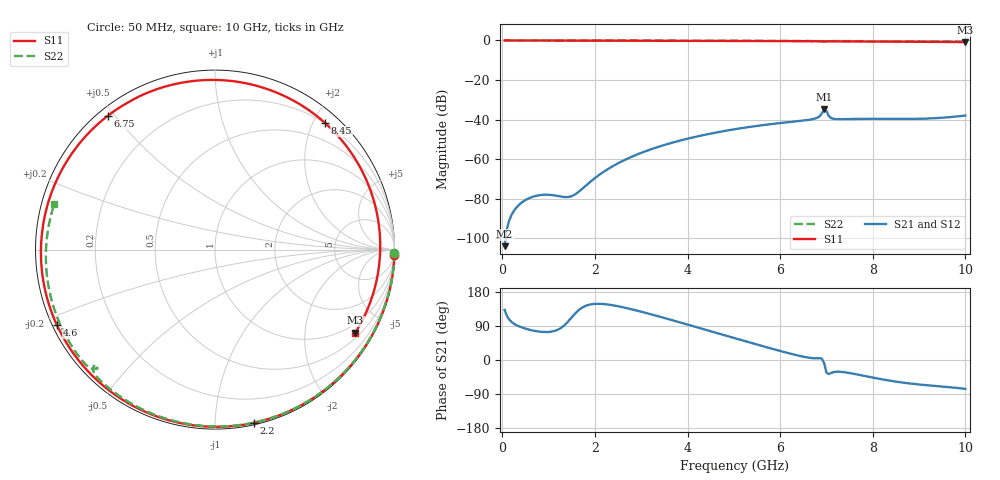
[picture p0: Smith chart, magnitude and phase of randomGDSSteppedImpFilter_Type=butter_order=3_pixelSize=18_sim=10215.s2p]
! freq	dB(S11)	phase(S11)	dB(S12)	phase(S12)
!  dB(S21)	phase(S21)	dB(S22)	phase(S22)
!S-par simulation data
#  GHz  S  DB  R 50
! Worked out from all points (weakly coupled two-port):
!   200 points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, 50 MHz to 10 GHz, reference 50 ohm
!   highest |S21| = -34.76 dB at 6.95 GHz (marker M1); lowest = -104.0 dB at 50 MHz (marker M2)
!   lowest |S11| = -0.8 dB at 10 GHz (marker M3), VSWR 20.79, Z = 33.3 - j176 ohm
!   |S11| at or under -10 dB: nowhere
!   |S22| runs from -0.7 to 0.0 dB; largest |S21 - S12| = 0
!   S11 on the Smith chart (normalised r, x): 50 MHz: 0, -63; 2.2 GHz: 0.01, -1.25; 4.6 GHz: 0.01, -0.23; 6.75 GHz: 0.03, +0.48; 8.45 GHz: 0.20, +2.18; 10 GHz: 0.67, -3.53
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0.05  -0.00 -1.8  -103.96 132.1  -103.96 132.1  -0.00 -1.1
0.55  -0.02 -20.0  -80.02 81.0  -80.02 81.0  -0.01 -11.8
0.7  -0.02 -25.4  -78.70 76.8  -78.70 76.8  -0.02 -15.0
1.45  -0.06 -51.9  -79.01 105.5  -79.01 105.5  -0.04 -30.7
1.75  -0.08 -62.2  -74.47 140.0  -74.47 140.0  -0.05 -36.9
2.2  -0.10 -77.4  -66.19 147.5  -66.19 147.5  -0.06 -46.1
2.75  -0.12 -95.5  -59.23 135.1  -59.23 135.1  -0.07 -57.1
3.4  -0.15 -116.3  -53.53 114.3  -53.53 114.3  -0.09 -69.9
4.6  -0.21 -154.5  -46.60 72.4  -46.60 72.4  -0.14 -92.6
5.05  -0.24 -169.2  -44.74 56.5  -44.74 56.5  -0.16 -100.9
5.9  -0.31 161.5  -42.00 27.2  -42.00 27.2  -0.20 -116.4
6.7  -0.39 130.7  -39.78 4.9  -39.78 4.9  -0.27 -131.2
6.75  -0.40 128.7  -39.49 4.5  -39.49 4.5  -0.28 -132.2
6.85  -0.41 124.5  -38.34 4.8  -38.34 4.8  -0.33 -134.5
6.95  -0.43 120.4  -34.76 -8.2  -34.76 -8.2  -0.68 -136.3
7.15  -0.44 111.7  -39.59 -32.1  -39.59 -32.1  -0.32 -138.1
7.75  -0.50 84.0  -39.62 -40.3  -39.62 -40.3  -0.35 -149.7
8.35  -0.57 54.1  -39.61 -54.2  -39.61 -54.2  -0.41 -161.2
8.45  -0.59 49.0  -39.63 -56.1  -39.63 -56.1  -0.42 -163.1
9.2  -0.69 9.8  -39.44 -66.9  -39.44 -66.9  -0.51 -178.3
9.6  -0.76 -10.8  -38.88 -71.2  -38.88 -71.2  -0.57 173.1
10  -0.84 -30.7  -37.95 -76.1  -37.95 -76.1  -0.62 164.1
